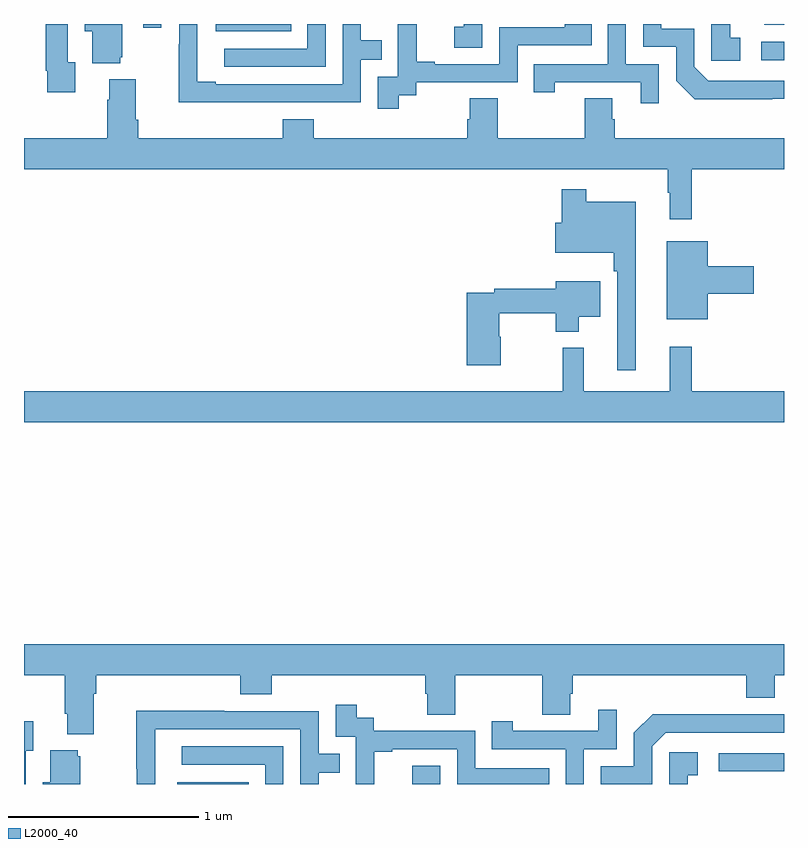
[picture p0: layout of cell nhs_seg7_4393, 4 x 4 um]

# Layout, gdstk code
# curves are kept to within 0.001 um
import gdstk
lib = gdstk.Library(unit=1e-6, precision=1e-09)
def R(c, l, rs):  # rectangles x0, y0, x1, y1
    for r in rs: c.add(gdstk.rectangle(r[:2], r[2:], *l))
def P(c, l, *ps):  # polygons
    for p in ps: c.add(gdstk.Polygon(p, *l))
L2000_40 = (2000, 40)

nhs_seg7_4393 = lib.new_cell('nhs_seg7_4393')
R(nhs_seg7_4393, L2000_40, [(387.806,1044,388.184,1044.01), (389.043,1044,389.19,1044.097), (390.657,1044.066,391,1044.162), (390.879,1047.81,391,1047.906), (388.01,1047.962,388.406,1048), (387.627,1047.981,387.723,1048), (390.896,1047.995,391,1048)])
P(nhs_seg7_4393, L2000_40, [(390.342,1047.789),(390.168,1047.789),(390.168,1048),(390.072,1048),(390.072,1047.789),(389.683,1047.789),(389.683,1047.642),(389.794,1047.642),(389.794,1047.693),(390.245,1047.693),(390.245,1047.582),(390.342,1047.582)],
  [(390.769,1047.927),(390.716,1047.927),(390.716,1048),(390.618,1048),(390.618,1047.807),(390.769,1047.807)],
  [(388.277,1047.588),(388.773,1047.588),(388.773,1047.813),(388.883,1047.813),(388.883,1047.914),(388.773,1047.914),(388.773,1048),(388.677,1048),(388.677,1047.684),(388.009,1047.684),(388.009,1047.697),(387.912,1047.697),(387.912,1048),(387.816,1048),(387.816,1047.893),(387.814,1047.893),(387.814,1047.587),(388.277,1047.587)],
  [(390.938,1047.606),(391,1047.606),(391,1047.702),(390.6,1047.702),(390.528,1047.774),(390.528,1047.975),(390.355,1047.975),(390.355,1048),(390.258,1048),(390.258,1047.879),(390.432,1047.879),(390.432,1047.702),(390.53,1047.605)],
  [(387.506,1047.825),(387.517,1047.825),(387.517,1048),(387.32,1048),(387.32,1047.962),(387.359,1047.962),(387.359,1047.794),(387.506,1047.794)],
  [(388.587,1048),(388.491,1048),(388.491,1047.87),(388.053,1047.87),(388.053,1047.774),(388.587,1047.774)],
  [(388.972,1047.625),(389.064,1047.625),(389.064,1047.693),(389.598,1047.693),(389.598,1047.888),(389.987,1047.888),(389.987,1048),(389.847,1048),(389.847,1047.984),(389.502,1047.984),(389.502,1047.789),(389.161,1047.789),(389.161,1047.802),(389.066,1047.802),(389.066,1048),(388.967,1048),(388.967,1047.953),(388.968,1047.953),(388.968,1047.723),(388.863,1047.723),(388.863,1047.555),(388.972,1047.555)],
  [(389.412,1048),(389.314,1048),(389.314,1047.985),(389.265,1047.985),(389.265,1047.876),(389.412,1047.876)],
  [(387.271,1047.798),(387.231,1047.798),(387.231,1048),(387.115,1048),(387.115,1047.754),(387.123,1047.754),(387.123,1047.642),(387.271,1047.642)],
  [(390.515,1047.236),(391,1047.236),(391,1047.4),(390.11,1047.4),(390.11,1047.498),(390.097,1047.498),(390.097,1047.608),(389.95,1047.608),(389.95,1047.4),(389.493,1047.4),(389.493,1047.608),(389.345,1047.608),(389.345,1047.498),(389.333,1047.498),(389.333,1047.4),(388.526,1047.4),(388.526,1047.499),(388.361,1047.499),(388.361,1047.4),(387.602,1047.4),(387.602,1047.496),(387.589,1047.496),(387.589,1047.709),(387.449,1047.709),(387.449,1047.602),(387.437,1047.602),(387.437,1047.4),(387,1047.4),(387,1047.236),(390.387,1047.236),(390.387,1047.113),(390.398,1047.113),(390.398,1046.973),(390.515,1046.973)],
  [(390.22,1047.064),(389.959,1047.064),(389.959,1047.13),(389.83,1047.13),(389.83,1046.953),(389.796,1046.953),(389.796,1046.795),(390.103,1046.795),(390.103,1046.699),(390.123,1046.699),(390.123,1046.178),(390.22,1046.178)],
  [(390.598,1046.579),(390.841,1046.579),(390.841,1046.726),(390.598,1046.726),(390.598,1046.857),(390.383,1046.857),(390.383,1046.447),(390.598,1046.447)],
  [(389.508,1046.355),(389.5,1046.355),(389.5,1046.478),(389.798,1046.478),(389.798,1046.381),(389.92,1046.381),(389.92,1046.459),(390.034,1046.459),(390.034,1046.647),(389.798,1046.647),(389.798,1046.606),(389.476,1046.606),(389.476,1046.586),(389.33,1046.586),(389.33,1046.205),(389.508,1046.205)],
  [(391,1046.068),(390.515,1046.068),(390.515,1046.302),(390.398,1046.302),(390.398,1046.068),(389.945,1046.068),(389.945,1046.296),(389.835,1046.296),(389.835,1046.068),(387,1046.068),(387,1045.904),(391,1045.904)],
  [(387.367,1044.476),(387.38,1044.476),(387.38,1044.572),(388.139,1044.572),(388.139,1044.473),(388.304,1044.473),(388.304,1044.572),(389.111,1044.572),(389.111,1044.474),(389.123,1044.474),(389.123,1044.364),(389.271,1044.364),(389.271,1044.572),(389.728,1044.572),(389.728,1044.364),(389.875,1044.364),(389.875,1044.474),(389.888,1044.474),(389.888,1044.572),(390.8,1044.572),(390.8,1044.455),(390.952,1044.455),(390.952,1044.572),(391,1044.572),(391,1044.736),(387,1044.736),(387,1044.572),(387.215,1044.572),(387.215,1044.37),(387.227,1044.37),(387.227,1044.263),(387.367,1044.263)],
  [(388.844,1044.171),(388.939,1044.171),(388.939,1044.183),(389.28,1044.183),(389.28,1044),(389.765,1044),(389.765,1044.084),(389.376,1044.084),(389.376,1044.279),(388.842,1044.279),(388.842,1044.348),(388.75,1044.348),(388.75,1044.418),(388.641,1044.418),(388.641,1044.249),(388.746,1044.249),(388.746,1044.02),(388.745,1044.02),(388.745,1044),(388.844,1044)],
  [(389.946,1044.183),(390.12,1044.183),(390.12,1044.391),(390.023,1044.391),(390.023,1044.279),(389.572,1044.279),(389.572,1044.331),(389.461,1044.331),(389.461,1044.183),(389.85,1044.183),(389.85,1044),(389.946,1044)],
  [(387.69,1044.288),(388.455,1044.288),(388.455,1044),(388.551,1044),(388.551,1044.058),(388.661,1044.058),(388.661,1044.159),(388.551,1044.159),(388.551,1044.384),(388.055,1044.384),(388.055,1044.386),(387.592,1044.386),(387.592,1044.079),(387.594,1044.079),(387.594,1044),(387.69,1044)],
  [(390.306,1044.198),(390.378,1044.27),(391,1044.27),(391,1044.366),(390.716,1044.366),(390.716,1044.368),(390.308,1044.368),(390.21,1044.27),(390.21,1044.093),(390.036,1044.093),(390.036,1044),(390.306,1044)],
  [(387.009,1044.175),(387.049,1044.175),(387.049,1044.331),(387,1044.331),(387,1044),(387.009,1044)],
  [(388.365,1044.198),(387.831,1044.198),(387.831,1044.102),(388.269,1044.102),(388.269,1044),(388.365,1044)],
  [(387.295,1044.147),(387.284,1044.147),(387.284,1044.178),(387.137,1044.178),(387.137,1044.01),(387.098,1044.01),(387.098,1044),(387.295,1044)],
  [(390.494,1044.045),(390.547,1044.045),(390.547,1044.166),(390.396,1044.166),(390.396,1044),(390.494,1044)])

lib.write_gds('nhs_seg7_4393.gds')
